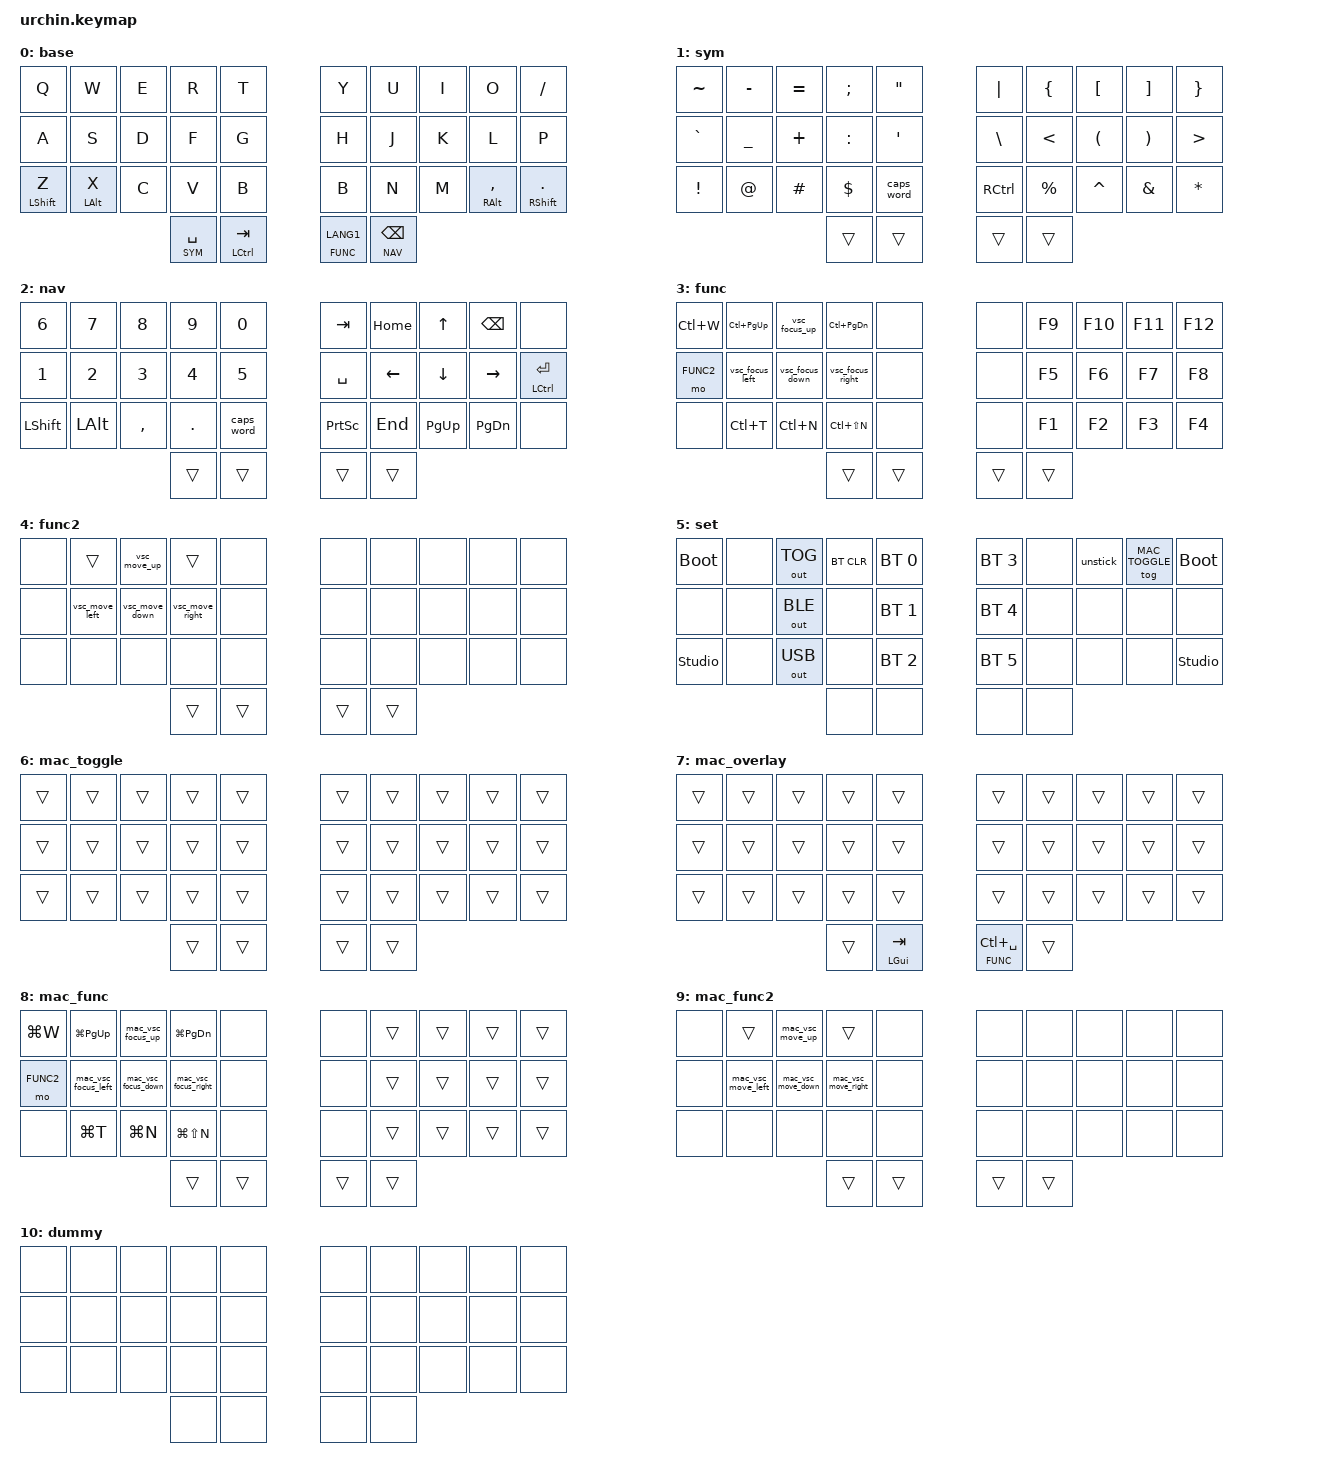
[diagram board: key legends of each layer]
/*
urchin_zmk_jade
--- history ---
1.0.0: init
1.0.1: minor fix
1.0.2: apply experimental bluetooth setting to fit with window os
1.0.3: minor bluetooth fix
---
1.1.0: add mac os layer - COMPLETED
*/


#include <behaviors.dtsi>
#include <dt-bindings/zmk/keys.h>
#include <dt-bindings/zmk/bt.h>
#include <dt-bindings/zmk/outputs.h>


// Layer definitions
#define BASE 0
#define SYM 1
#define NAV 2
#define FUNC 3
#define FUNC2 4
#define SETTINGS 5
#define MAC_TOGGLE 6
#define MAC_OVERLAY 7
#define MAC_FUNC 8
#define MAC_FUNC2 9
#define DUMMY 10
// -----------------

&sk {
	ignore-modifiers;
};

&mt {
  quick-tap-ms = <100>;
  flavor = "tap-preferred";
  tapping-term-ms = <135>;
};

&lt {
  quick-tap-ms = <100>;
  tapping-term-ms = <135>;
};


/ {
	behaviors {
		qt: quick_tap {
			compatible = "zmk,behavior-hold-tap";
			#binding-cells = <2>;
			flavor = "hold-preferred";
			tapping-term-ms = <200>;
			quick-tap-ms = <200>;
			bindings = <&kp>, <&kp>;
		};

		ht_bootloader: ht_bootloader {
			compatible = "zmk,behavior-hold-tap";
			#binding-cells = <2>;
			flavor = "hold-preferred";
			tapping-term-ms = <5000>;
			bindings = <&bootloader>, <&none>;
		};
	};

	conditional_layers {
		compatible = "zmk,conditional-layers";

		mac_base_mode {
			if-layers = <MAC_TOGGLE>;
			then-layer = <MAC_OVERLAY>;
		};

		mac_func_mode {
			if-layers = <FUNC MAC_TOGGLE>;
			then-layer = <MAC_FUNC>;
		};

		mac_func2_mode {
			if-layers = <FUNC2 MAC_TOGGLE>;
			then-layer = <MAC_FUNC2>;
		};		
	};

	macros {
		unstick: unstick {
			label = "ZM_unstick";
			compatible = "zmk,behavior-macro";
			#binding-cells = <0>;
			bindings = <
				&kp LSHIFT &kp RSHIFT &kp LCTRL &kp RCTRL &kp LALT &kp RALT &kp LGUI &kp RGUI
			>;
		};

		// vscode shortcut -- windows
		vsc_focus_left: vsc_focus_left {
			compatible = "zmk,behavior-macro";
			#binding-cells = <0>;
			bindings = <&kp LC(K) &kp LC(LEFT)>;
		};

		vsc_focus_down: vsc_focus_down {
			compatible = "zmk,behavior-macro";
			#binding-cells = <0>;
			bindings = <&kp LC(K) &kp LC(DOWN)>;
		};

		vsc_focus_right: vsc_focus_right {
			compatible = "zmk,behavior-macro";
			#binding-cells = <0>;
			bindings = <&kp LC(K) &kp LC(RIGHT)>;
		};

		vsc_focus_up: vsc_focus_up {
			compatible = "zmk,behavior-macro";
			#binding-cells = <0>;
			bindings = <&kp LC(K) &kp LC(UP)>;
		};

		vsc_move_left: vsc_move_left {
			compatible = "zmk,behavior-macro";
			#binding-cells = <0>;
			bindings = <&kp LC(K) &kp LEFT>;
		};
		
		vsc_move_down: vsc_move_down {
			compatible = "zmk,behavior-macro";
			#binding-cells = <0>;
			bindings = <&kp LC(K) &kp DOWN>;
		};

		vsc_move_right: vsc_move_right {
			compatible = "zmk,behavior-macro";
			#binding-cells = <0>;
			bindings = <&kp LC(K) &kp RIGHT>;
		};

		vsc_move_up: vsc_move_up {
			compatible = "zmk,behavior-macro";
			#binding-cells = <0>;
			bindings = <&kp LC(K) &kp UP>;
		};

		// vscode -- macos
		mac_vsc_focus_left: mac_vsc_focus_left {
			compatible = "zmk,behavior-macro";
			#binding-cells = <0>;
			bindings = <&kp LG(K) &kp LG(LEFT)>;
		};

		mac_vsc_focus_down: mac_vsc_focus_down {
			compatible = "zmk,behavior-macro";
			#binding-cells = <0>;
			bindings = <&kp LG(K) &kp LG(DOWN)>;
		};

		mac_vsc_focus_right: mac_vsc_focus_right {
			compatible = "zmk,behavior-macro";
			#binding-cells = <0>;
			bindings = <&kp LG(K) &kp LG(RIGHT)>;
		};

		mac_vsc_focus_up: mac_vsc_focus_up {
			compatible = "zmk,behavior-macro";
			#binding-cells = <0>;
			bindings = <&kp LG(K) &kp LG(UP)>;
		};

		mac_vsc_move_left: mac_vsc_move_left {
			compatible = "zmk,behavior-macro";
			#binding-cells = <0>;
			bindings = <&kp LG(K) &kp LG(LEFT)>;
		};
		
		mac_vsc_move_down: mac_vsc_move_down {
			compatible = "zmk,behavior-macro";
			#binding-cells = <0>;
			bindings = <&kp LG(K) &kp LG(DOWN)>;
		};

		mac_vsc_move_right: mac_vsc_move_right {
			compatible = "zmk,behavior-macro";
			#binding-cells = <0>;
			bindings = <&kp LG(K) &kp LG(RIGHT)>;
		};

		mac_vsc_move_up: mac_vsc_move_up {
			compatible = "zmk,behavior-macro";
			#binding-cells = <0>;
			bindings = <&kp LG(K) &kp LG(UP)>;
		};

		// shortcut for macos
		mac_app_switch: mac_app_switch {
			compatible = "zmk,behavior-macro";
			#binding-cells = <0>;
			bindings = <&kp LG(TAB)>;
		};

		mac_spotlight: mac_spotlight {
			compatible = "zmk,behavior-macro";
			#binding-cells = <0>;
			bindings = <&kp LG(SPACE)>;
		};

		mac_mission_control: mac_mission_control {
			compatible = "zmk,behavior-macro";
			#binding-cells = <0>;
			bindings = <&kp F3>;
		};

		mac_screenshot: mac_screenshot {
			compatible = "zmk,behavior-macro";
			#binding-cells = <0>;
			bindings = <&kp LG(LS(N4))>;
		};

		mac_partial_screenshot: mac_partial_screenshot {
			compatible = "zmk,behavior-macro";
			#binding-cells = <0>;
			bindings = <&kp LG(LS(N3))>;
		};
	};

	combos {
		compatible = "zmk,combos";

		combo_enter {
			timeout-ms = <50>;
			key-positions = <17 18>;
			bindings = <&kp ENTER>;
		};

		combo_esc {
			timeout-ms = <50>;
			key-positions = <1 2>;
			bindings = <&kp ESC>;
		};

		combo_capsword {
			timeout-ms = <50>;
			key-positions = <20 29>;
			bindings = <&caps_word>;
		};

		combo_left_thumb {
			timeout-ms = <80>;
			key-positions = <30 31>;
			bindings = <&mt LGUI ESC>;
		};

		combo_right_thumb {
			timeout-ms = <80>;
			key-positions = <32 33>;
			bindings = <&kp DEL>;
		};

		combo_settings {
			timeout-ms = <200>;
			key-positions = <31 32>;
			bindings = <&mo SETTINGS>;
		};

		combo_bootloader_left {
			timeout-ms = <50>;
			key-positions = <0 10 20>;
			bindings = <&ht_bootloader 0 0>;
		};
		
		combo_bootloader_right {
			timeout-ms = <50>;
			key-positions = <9 19 29>;
			bindings = <&ht_bootloader 0 0>;
		};

		combo_macos_toggle {
			timeout-ms = <100>;
			key-positions = <0 1 2>;
			bindings = <&tog MAC_TOGGLE>;			
		};
	};	

	keymap {
		compatible = "zmk,keymap";

		// #0: BASE layer
		default_layer {		
			label = "base";	
			bindings = <
				&kp Q       &kp W       &kp E       &kp R         &kp T                &kp Y          &kp U        &kp I        &kp O          &kp SLASH 
				&kp A       &kp S       &kp D       &kp F         &kp G                &kp H          &kp J        &kp K        &kp L          &kp P
				&mt LSHFT Z &mt LALT X  &kp C       &kp V         &kp B                &kp B          &kp N        &kp M        &mt RALT COMMA &mt RSHIFT DOT
																						&lt SYM SPACE &mt LCTRL TAB        &lt FUNC LANG1 &lt NAV BSPC
			>;
		};

		// #1: symbol
		sym_layer {
			label = "sym";
			bindings = <
				&kp TILDE       &kp MINUS		  &kp EQUAL   &kp SEMI     &kp DQT         &kp PIPE      &kp LBRC      &kp LBKT     &kp RBKT			&kp RBRC  
				&kp GRAVE			  &kp UNDER     &kp PLUS    &kp COLON    &kp SQT         &kp BSLH      &kp LT        &kp LPAR	    &kp RPAR      &kp GT
				&kp EXCLAMATION &kp AT_SIGN   &kp HASH    &kp DOLLAR   &caps_word      &kp RCTRL     &kp PERCENT   &kp CARET    &kp AMPERSAND &kp ASTERISK
																									&trans		   &trans  				 &trans				 &trans
			>;
		};

		// #2: number(_left_) & nav(_right_)
		nav_layer {
			label = "nav";
			bindings = <
				&kp N6 				&kp N7		    &kp NUMBER_8  &kp N9     	 &kp N0              &kp TAB         &kp HOME      &kp UP       &kp BACKSPACE &none 
				&kp N1        &kp N2     		&kp N3     		&kp N4     	 &kp N5              &kp SPACE       &kp LEFT      &kp DOWN     &kp RIGHT     &mt LCTRL ENTER
				&kp LSHFT 	  &kp LALT      &kp COMMA     &kp DOT      &caps_word          &kp PRINTSCREEN &kp END       &kp PAGE_UP  &kp PAGE_DOWN &none
																									&trans		   &trans  				     &trans				   &trans
			>;
		};

		// #3: browser-nav(_left_) & function(_right_)
		func_layer {
			label = "func";
			bindings = <
				&kp LC(W)			&kp LC(PAGE_UP) &vsc_focus_up   &kp LC(PAGE_DOWN) &none       &none    &kp F9       &kp F10        &kp F11	      &kp F12   
				&mo FUNC2     &vsc_focus_left &vsc_focus_down &vsc_focus_right  &none       &none    &kp F5       &kp F6	       &kp F7         &kp F8 
				&none 	      &kp LC(T)       &kp LC(N)       &kp LC(LS(N))  	  &none       &none    &kp F1       &kp F2         &kp F3         &kp F4
																											&trans		        &trans  	  &trans	 &trans
			>;
		};

		// #4: func_raise(_left_)
		func_2_layer {
			label = "func2";
			bindings = <
				&none        &trans         &vsc_move_up    &trans          &none       &none        &none        &none        &none        &none 
				&none        &vsc_move_left &vsc_move_down  &vsc_move_right &none       &none        &none        &none        &none        &none 
				&none        &none          &none           &none           &none       &none        &none        &none        &none        &none 
																										&trans          &trans      &trans       &trans
			>;
		};

		// #5: setting
		settings_layer {
			label = "set";
			bindings = <
				&bootloader    &none    &out OUT_TOG      &bt BT_CLR     &bt BT_SEL 0       &bt BT_SEL 3    &none    &unstick   &tog MAC_TOGGLE   &bootloader 
				&none          &none    &out OUT_BLE      &none          &bt BT_SEL 1       &bt BT_SEL 4    &none    &none      &none             &none
				&studio_unlock &none    &out OUT_USB      &none          &bt BT_SEL 2       &bt BT_SEL 5    &none    &none      &none             &studio_unlock
																									&none          &none              &none             &none 
			>;
		};

		// #6: mac toggle (투명 레이어)
		mac_toggle_layer {
			label = "mac_toggle";
			bindings = <
				&trans      &trans        &trans        &trans        &trans       &trans        &trans        &trans        &trans        &trans 
				&trans      &trans        &trans        &trans        &trans       &trans        &trans        &trans        &trans        &trans 
				&trans      &trans        &trans        &trans        &trans       &trans        &trans        &trans        &trans        &trans 
																	&trans        &trans        &trans       &trans 
			>;			
		};

		// #7: mac overlay - BASE 레이어 위에 오버라이드
		mac_overlay_layer {
			label = "mac_overlay";
			bindings = <
				&trans        &trans      &trans        &trans        &trans         &trans             &trans        &trans        &trans    &trans
				&trans        &trans      &trans        &trans        &trans         &trans             &trans        &trans        &trans    &trans
				&trans        &trans      &trans        &trans        &trans         &trans             &trans        &trans        &trans    &trans
																								&trans        &mt LGUI TAB   &lt FUNC LC(SPACE) &trans
			>;
		};

		// #8: mac func overlay - FUNC 레이어 위에 오버라이드  
		mac_func_layer {
			label = "mac_func";
			bindings = <
				&kp LG(W)         &kp LG(PAGE_UP)   	&mac_vsc_focus_up   &kp LG(PAGE_DOWN)     &none          &none    &trans       &trans        &trans	      &trans   
				&mo FUNC2         &mac_vsc_focus_left &mac_vsc_focus_down &mac_vsc_focus_right  &none          &none    &trans       &trans        &trans         &trans 
				&none             &kp LG(T)         	&kp LG(N)           &kp LG(LS(N))         &none          &none    &trans       &trans        &trans         &trans
																																	&trans                &trans         &trans        &trans
			>;
		};

		// #9: mac func2 overlay - FUNC2 레이어 위에 오버라이드
		mac_func2_layer {
			label = "mac_func2";
			bindings = <
				&none        &trans             &mac_vsc_move_up    &trans              &none       &none        &none        &none        &none        &none 
				&none        &mac_vsc_move_left &mac_vsc_move_down  &mac_vsc_move_right &none       &none        &none        &none        &none        &none 
				&none        &none              &none               &none               &none       &none        &none        &none        &none        &none 
																														&trans              &trans      &trans       &trans
			>;
		};

		// #10: dummy
		dummy_layer {
			label = "dummy";
			bindings = <
				&none        &none        &none        &none        &none       &none        &none        &none        &none        &none 
				&none        &none        &none        &none        &none       &none        &none        &none        &none        &none 
				&none        &none        &none        &none        &none       &none        &none        &none        &none        &none 
																	&none        &none        &none       &none 
			>;
		};
	};
};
